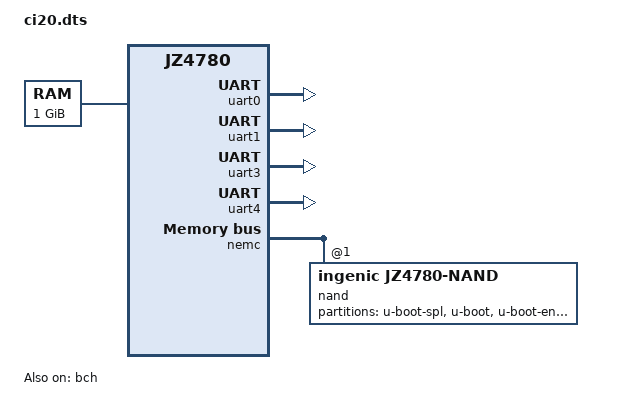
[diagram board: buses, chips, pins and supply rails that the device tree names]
/dts-v1/;

#include "jz4780.dtsi"

/ {
	compatible = "img,ci20", "ingenic,jz4780";

	aliases {
		serial0 = &uart0;
		serial1 = &uart1;
		serial3 = &uart3;
		serial4 = &uart4;
	};

	chosen {
		stdout-path = &uart4;
	};

	memory {
		device_type = "memory";
		reg = <0x0 0x10000000
		       0x30000000 0x30000000>;
	};
};

&ext {
	clock-frequency = <48000000>;
};

&uart0 {
	status = "okay";
};

&uart1 {
	status = "okay";
};

&uart3 {
	status = "okay";
};

&uart4 {
	status = "okay";
};

&nemc {
	status = "okay";

	nand: nand@1 {
		compatible = "ingenic,jz4780-nand";
		reg = <1 0 0x1000000>;

		ingenic,nemc-tAS = <10>;
		ingenic,nemc-tAH = <5>;
		ingenic,nemc-tBP = <10>;
		ingenic,nemc-tAW = <15>;
		ingenic,nemc-tSTRV = <100>;

		ingenic,bch-controller = <&bch>;
		ingenic,ecc-size = <1024>;
		ingenic,ecc-strength = <24>;

		#address-cells = <2>;
		#size-cells = <2>;

		partition@0 {
			label = "u-boot-spl";
			reg = <0x0 0x0 0x0 0x800000>;
		};

		partition@0x800000 {
			label = "u-boot";
			reg = <0x0 0x800000 0x0 0x200000>;
		};

		partition@0xa00000 {
			label = "u-boot-env";
			reg = <0x0 0xa00000 0x0 0x200000>;
		};

		partition@0xc00000 {
			label = "boot";
			reg = <0x0 0xc00000 0x0 0x4000000>;
		};

		partition@0x8c00000 {
			label = "system";
			reg = <0x0 0x4c00000 0x1 0xfb400000>;
		};
	};
};

&bch {
	status = "okay";
};
